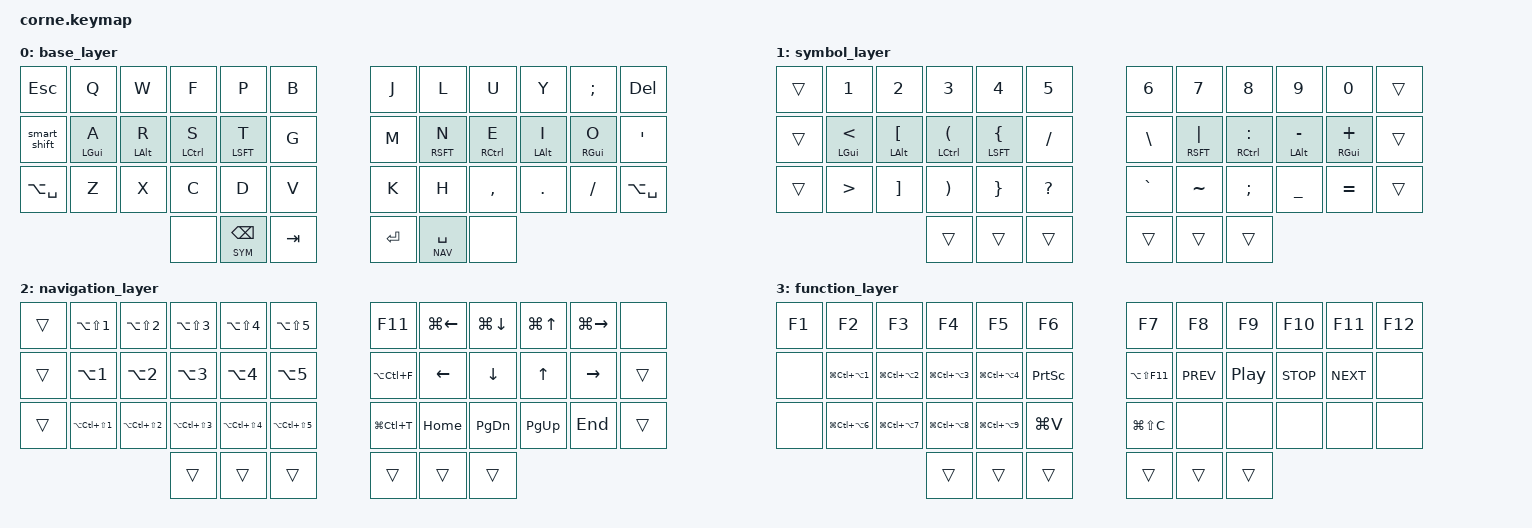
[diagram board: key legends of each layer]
/* Corne 6x3 keymap by Psoewish */

#include <behaviors.dtsi>
#include <dt-bindings/zmk/keys.h>
#include "behavior.dtsi"

#define BAS 0
#define SYM 1
#define NAV 2
#define FUN 3

/ {
    conditional_layers {
        compatible = "zmk,conditional-layers";
        tri_layer {
            if-layers = <SYM NAV>;
            then-layer = <FUN>;
        };
    };
};

/* OS Shortcuts */
/* Workspaces */
/* Focus workspace */
#define focus1                &kp LA(N1)
#define focus2                &kp LA(N2)
#define focus3                &kp LA(N3)
#define focus4                &kp LA(N4)
#define focus5                &kp LA(N5)

/* Send to workspace */
#define send1                 &kp LA(LS(N1))
#define send2                 &kp LA(LS(N2))
#define send3                 &kp LA(LS(N3))
#define send4                 &kp LA(LS(N4))
#define send5                 &kp LA(LS(N5))

/* Send to and focus workspace */
#define sendfocus1            &kp LA(LC(LS(N1)))
#define sendfocus2            &kp LA(LC(LS(N2)))
#define sendfocus3            &kp LA(LC(LS(N3)))
#define sendfocus4            &kp LA(LC(LS(N4)))
#define sendfocus5            &kp LA(LC(LS(N5)))

/* Powertoys layouts */
/* Focus layouts */
#define layout1               &kp LG(LC(LA(N1)))
#define layout2               &kp LG(LC(LA(N2)))
#define layout3               &kp LG(LC(LA(N3)))
#define layout4               &kp LG(LC(LA(N4)))
/* Split layouts */
#define layout6               &kp LG(LC(LA(N6)))
#define layout7               &kp LG(LC(LA(N7)))
#define layout8               &kp LG(LC(LA(N8)))
#define layout9               &kp LG(LC(LA(N9)))

/* Window management */
#define pin                   &kp LG(LC(T))
#define maximize              &kp LA(LC(F))
#define fullscreen            &kp F11

/* Move window */
#define moveleft              &kp LG(LEFT)
#define movedown              &kp LG(DOWN)
#define moveup                &kp LG(UP)
#define moveright             &kp LG(RIGHT)

/* Misc tools */
#define cliphist              &kp LG(V)
#define swapaudio             &kp LA(LS(F11))
#define colorpicker           &kp LG(LS(C))
#define launcher              &kp LA(SPACE)


/* Keymap */
/ {
    keymap {
        compatible = "zmk,keymap";
        
        base_layer {
            bindings = <
     /*╔═════════════╦══════════════╦════════════════╦═════════════════╦═════════════════╦══════════════╕   ╒════════════════╦═════════════════╦══════════════════╦═════════════════╦════════════════╦═════════════╗*/
         &kp ESC       &kp Q          &kp W            &kp F             &kp P             &kp B              &kp J            &kp L             &kp U              &kp Y             &kp SEMI         &kp DEL
     /*╠═════════════╬══════════════╬════════════════╬═════════════════╬═════════════════╬══════════════╡   ╞════════════════╬═════════════════╬══════════════════╬═════════════════╬════════════════╬═════════════╣*/
         &smart_shift  &hml LGUI A    &hml LALT R      &hml LCTL S       &hml LSFT T       &kp G              &kp M            &hmr RSFT N       &hmr RCTL E        &hmr LALT I       &hmr RGUI O      &kp APOS
     /*╠═════════════╬══════════════╬════════════════╬═════════════════╬═════════════════╬══════════════╡   ╞════════════════╬═════════════════╬══════════════════╬═════════════════╬════════════════╬═════════════╣*/
         launcher      &kp Z          &kp X            &kp C             &kp D             &kp V              &kp K            &kp H             &kp COMMA          &kp PERIOD        &kp FSLH         launcher
     /*╚═════════════╩══════════════╩════════════════╬═════════════════╬═════════════════╬══════════════╡   ╞════════════════╬═════════════════╬══════════════════╬═════════════════╩════════════════╩═════════════╝*/
                                                       &none             &lt SYM BSPC      &kp TAB            &kp RETURN       &lt NAV SPACE     &none
     /*                                              ╚═════════════════╩═════════════════╩══════════════╛   ╘════════════════╩═════════════════╩══════════════════╝*/
            >;
        };
        symbol_layer {
            bindings = <
     /*╔═════════════╦══════════════╦════════════════╦═════════════════╦═════════════════╦══════════════╕   ╒════════════════╦═════════════════╦══════════════════╦═════════════════╦════════════════╦═════════════╗*/
         &trans        &kp N1         &kp N2           &kp N3            &kp N4            &kp N5             &kp N6           &kp N7            &kp N8             &kp N9            &kp N0           &trans
     /*╠═════════════╬══════════════╬════════════════╬═════════════════╬═════════════════╬══════════════╡   ╞════════════════╬═════════════════╬══════════════════╬═════════════════╬════════════════╬═════════════╣*/
         &trans        &hml LGUI LT   &hml LALT LBKT   &hml LCTL LPAR    &hml LSFT LBRC    &kp FSLH           &kp BSLH         &hmr RSFT PIPE    &hmr RCTL COLON    &hmr LALT MINUS   &hmr RGUI PLUS   &trans
     /*╠═════════════╬══════════════╬════════════════╬═════════════════╬═════════════════╬══════════════╡   ╞════════════════╬═════════════════╬══════════════════╬═════════════════╬════════════════╬═════════════╣*/
         &trans        &kp GT         &kp RBKT         &kp RPAR          &kp RBRC          &kp QMARK          &kp GRAVE        &kp TILDE         &kp SEMI           &kp UNDER         &kp EQUAL        &trans
     /*╚═════════════╩══════════════╩════════════════╬═════════════════╬═════════════════╬══════════════╡   ╞════════════════╬═════════════════╬══════════════════╬═════════════════╩════════════════╩═════════════╝*/
                                                       &trans            &trans            &trans             &trans           &trans            &trans
     /*                                              ╚═════════════════╩═════════════════╩══════════════╛   ╘════════════════╩═════════════════╩══════════════════╝*/
            >;
        };
        navigation_layer {
            bindings = <
     /*╔═════════════╦══════════════╦════════════════╦═════════════════╦═════════════════╦══════════════╕   ╒════════════════╦═════════════════╦══════════════════╦═════════════════╦════════════════╦═════════════╗*/
         &trans        send1          send2            send3             send4             send5              fullscreen       moveleft          movedown           moveup            moveright        &none
     /*╠═════════════╬══════════════╬════════════════╬═════════════════╬═════════════════╬══════════════╡   ╞════════════════╬═════════════════╬══════════════════╬═════════════════╬════════════════╬═════════════╣*/
         &trans        focus1         focus2           focus3            focus4            focus5             maximize         &kp LEFT          &kp DOWN           &kp UP            &kp RIGHT        &trans
     /*╠═════════════╬══════════════╬════════════════╬═════════════════╬═════════════════╬══════════════╡   ╞════════════════╬═════════════════╬══════════════════╬═════════════════╬════════════════╬═════════════╣*/
         &trans        sendfocus1     sendfocus2       sendfocus3        sendfocus4        sendfocus5         pin              &kp HOME          &kp PG_DN          &kp PG_UP         &kp END          &trans
     /*╚═════════════╩══════════════╩════════════════╬═════════════════╬═════════════════╬══════════════╡   ╞════════════════╬═════════════════╬══════════════════╬═════════════════╩════════════════╩═════════════╝*/
                                                       &trans            &trans            &trans             &trans           &trans            &trans
     /*                                              ╚═════════════════╩═════════════════╩══════════════╛   ╘════════════════╩═════════════════╩══════════════════╝*/
            >;
        };
        function_layer {
            bindings = <
     /*╔═════════════╦══════════════╦════════════════╦═════════════════╦═════════════════╦══════════════╕   ╒════════════════╦═════════════════╦══════════════════╦═════════════════╦════════════════╦═════════════╗*/
         &kp F1        &kp F2         &kp F3           &kp F4            &kp F5            &kp F6             &kp F7           &kp F8            &kp F9             &kp F10           &kp F11          &kp F12
     /*╠═════════════╬══════════════╬════════════════╬═════════════════╬═════════════════╬══════════════╡   ╞════════════════╬═════════════════╬══════════════════╬═════════════════╬════════════════╬═════════════╣*/
         &none         layout1        layout2          layout3           layout4           &kp PSCRN          swapaudio        &kp C_PREV        &kp C_PP           &kp C_STOP        &kp C_NEXT       &none
     /*╠═════════════╬══════════════╬════════════════╬═════════════════╬═════════════════╬══════════════╡   ╞════════════════╬═════════════════╬══════════════════╬═════════════════╬════════════════╬═════════════╣*/
         &none         layout6        layout7          layout8           layout9           cliphist           colorpicker      &none             &none              &none             &none            &none
     /*╚═════════════╩══════════════╩════════════════╬═════════════════╬═════════════════╬══════════════╡   ╞════════════════╬═════════════════╬══════════════════╬═════════════════╩════════════════╩═════════════╝*/
                                                       &trans            &trans            &trans             &trans           &trans            &trans
     /*                                              ╚═════════════════╩═════════════════╩══════════════╛   ╘════════════════╩═════════════════╩══════════════════╝*/
            >;
        };
    };
};
